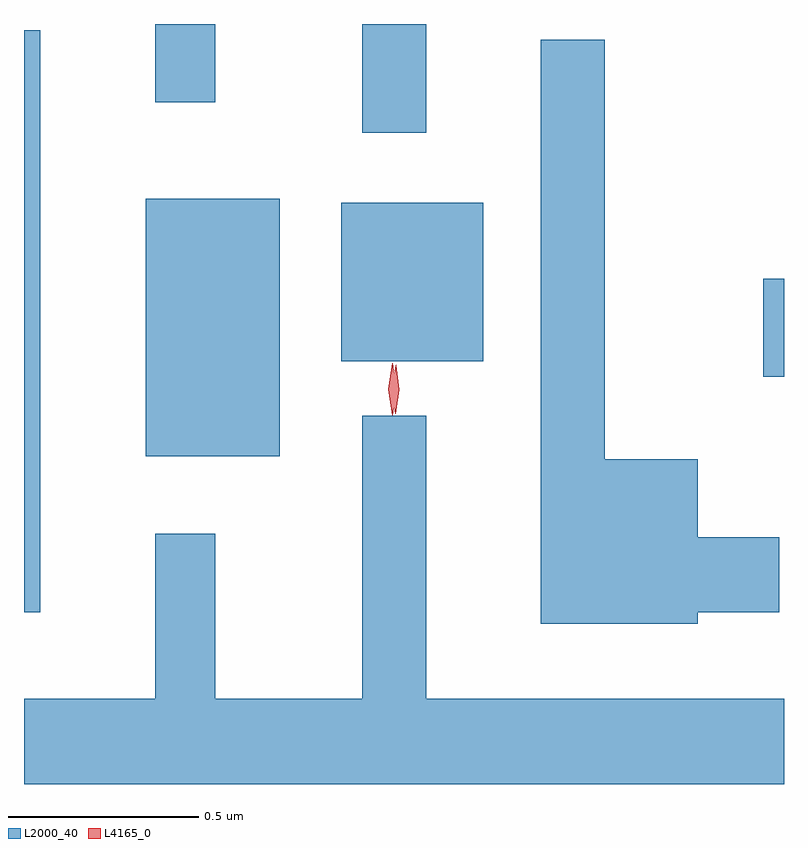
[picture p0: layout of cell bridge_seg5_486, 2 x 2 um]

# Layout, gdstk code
import gdstk
lib = gdstk.Library(unit=1e-6, precision=1e-09)
def R(c, l, rs):  # rectangles x0, y0, x1, y1
    for r in rs: c.add(gdstk.rectangle(r[:2], r[2:], *l))
def P(c, l, *ps):  # polygons
    for p in ps: c.add(gdstk.Polygon(p, *l))
L2000_40 = (2000, 40)
L4165_0 = (4165, 0)

bridge_seg5_486 = lib.new_cell('bridge_seg5_486')
R(bridge_seg5_486, L2000_40, [(237.401,1519.451,237.444,1520.983), (237.721,1519.861,238.074,1520.539), (239.346,1520.071,239.401,1520.329), (238.236,1520.111,238.609,1520.529), (238.291,1520.713,238.459,1520.999), (237.746,1520.793,237.904,1520.999)])
P(bridge_seg5_486, L2000_40, [(239.174,1519.451),(239.389,1519.451),(239.389,1519.649),(239.174,1519.649),(239.174,1519.854),(238.929,1519.854),(238.929,1520.958),(238.761,1520.958),(238.761,1519.421),(239.174,1519.421)],
  [(239.401,1519.224),(238.459,1519.224),(238.459,1519.968),(238.291,1519.968),(238.291,1519.224),(237.904,1519.224),(237.904,1519.658),(237.746,1519.658),(237.746,1519.224),(237.401,1519.224),(237.401,1518.999),(239.401,1518.999)])
P(bridge_seg5_486, L4165_0, [(238.37,1519.969),(238.37,1519.97),(238.36,1520.038),(238.37,1520.106),(238.37,1520.106),(238.371,1520.106),(238.38,1520.038),(238.371,1519.97)],
  [(238.378,1519.973),(238.378,1519.973),(238.369,1520.038),(238.379,1520.101),(238.38,1520.102),(238.38,1520.101),(238.389,1520.037),(238.379,1519.973)])

lib.write_gds('bridge_seg5_486.gds')
